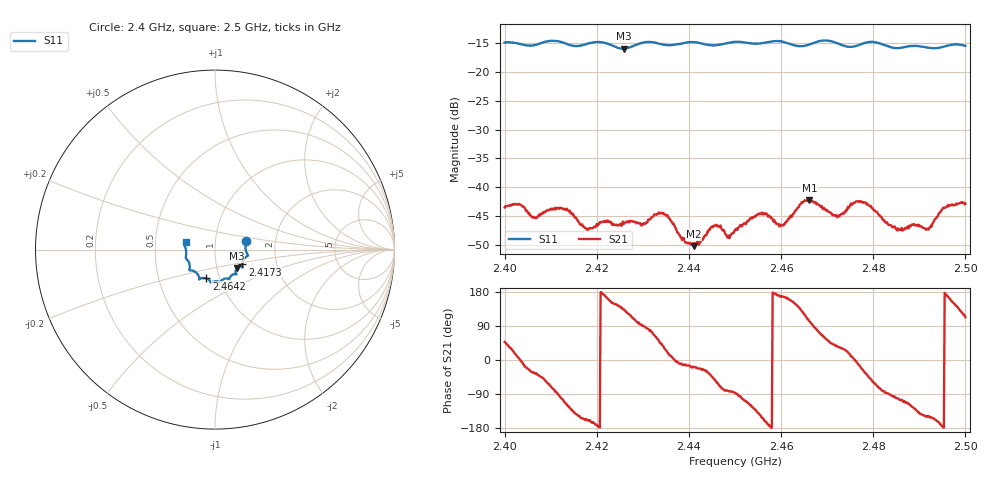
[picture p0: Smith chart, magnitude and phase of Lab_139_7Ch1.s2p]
# Hz S RI R 50
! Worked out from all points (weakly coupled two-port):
!   601 points, 2.4 GHz to 2.5 GHz, reference 50 ohm
!   highest |S21| = -42.26 dB at 2.4662 GHz (marker M1); lowest = -50.3 dB at 2.441 GHz (marker M2)
!   lowest |S11| = -15.9 dB at 2.4258 GHz (marker M3), VSWR 1.38, Z = 62.2 - j13.2 ohm
!   |S11| at or under -10 dB: start of sweep to end of sweep
!   S12 and S22 are empty: the file has one direction only
!   S11 on the Smith chart (normalised r, x): 2.4 GHz: 1.41, +0.14; 2.4173 GHz: 1.34, -0.23; 2.4642 GHz: 0.86, -0.29; 2.5 GHz: 0.72, +0.06
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2.4e9  0.1738 0.0491  0.00448 0.00491  0 0  0 0
2.403333e9  0.1728 0.0315  0.00702 0.0002  0 0  0 0
2.4065e9  0.1715 -0.005  0.00442 -0.00309  0 0  0 0
2.4125e9  0.1773 -0.0381  -0.00149 -0.00634  0 0  0 0
2.416667e9  0.1528 -0.0752  -0.00418 -0.00207  0 0  0 0
2.417333e9  0.1521 -0.0827  -0.00408 -0.00178  0 0  0 0
2.425833e9  0.1213 -0.1036  -0.0033 0.00344  0 0  0 0
2.433333e9  0.1128 -0.1367  0.0035 0.00481  0 0  0 0
2.441e9  0.0779 -0.1645  0.00291 -0.000965  0 0  0 0
2.4455e9  0.051 -0.1628  0.00291 -0.00354  0 0  0 0
2.45e9  0.0297 -0.1806  0.000246 -0.00425  0 0  0 0
2.455333e9  -0.00117 -0.1769  -0.00472 -0.00344  0 0  0 0
2.460167e9  -0.0242 -0.1823  -0.00454 0.000997  0 0  0 0
2.464167e9  -0.0482 -0.1607  -0.00493 0.00511  0 0  0 0
2.466167e9  -0.0713 -0.1582  -0.00162 0.00754  0 0  0 0
2.466667e9  -0.0761 -0.1594  -0.000691 0.00752  0 0  0 0
2.472167e9  -0.0878 -0.155  0.0044 0.00324  0 0  0 0
2.477833e9  -0.1341 -0.1159  0.00648 -0.00335  0 0  0 0
2.483333e9  -0.1406 -0.0892  8.23e-05 -0.00469  0 0  0 0
2.491833e9  -0.1608 -0.0271  -0.00373 -0.0022  0 0  0 0
2.495333e9  -0.1656 0.0136  -0.00664 -0.000165  0 0  0 0
2.5e9  -0.1637 0.0417  -0.00281 0.00661  0 0  0 0
